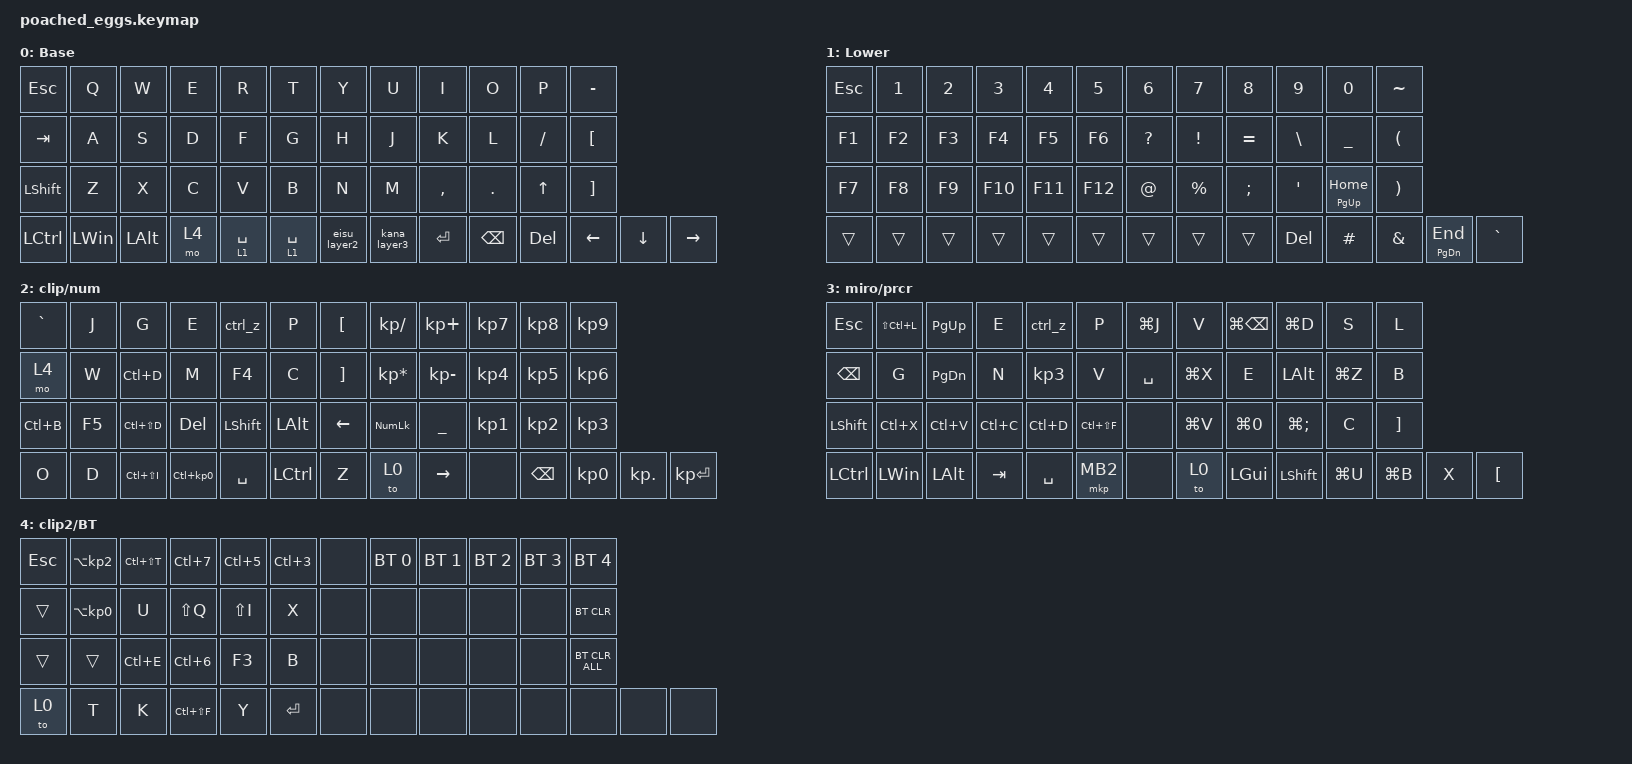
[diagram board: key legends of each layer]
#include <behaviors.dtsi>
#include <dt-bindings/zmk/bt.h>
#include <dt-bindings/zmk/keys.h>
#include <dt-bindings/zmk/pointing.h>
/ {
    behaviors {
        eisu_layer2: eisu_layer2 {
            compatible = "zmk,behavior-tap-dance";
            label = "EISU_LAYER2";
            #binding-cells = <0>;
            bindings = <&lt 2 LANG2>, <&to 2>;
        };
        kana_layer3: kana_layer3 {
            compatible = "zmk,behavior-tap-dance";
            label = "KANA_LAYER3";
            #binding-cells = <0>;
            bindings = <&kp LANG1>, <&to 3>;
        };
    };
    combos {
        compatible = "zmk,combos";

        combo_q {
            bindings = <&kp Q>;
            key-positions = <4 3>;
            layers = <2>;
        };

        ctrl_s {
            bindings = <&kp LC(S)>;
            key-positions = <15 16>;
            layers = <2>;
        };
    };
    macros {
        ctrl_z: ctrl_z {
            compatible = "zmk,behavior-macro";
            #binding-cells = <0>;
            bindings = <&kp LC(Z)>;
            label = "CTRL_Z";
        };
    };
    keymap {
        compatible = "zmk,keymap";
        // Layer 0; positions 0..49, rows 12 + 12 + 12 + 14.
        default_layer {
            display-name = "Base";
            bindings = <
        		&kp ESC                 &kp Q                   &kp W                   &kp E                   &kp R                   &kp T                   &kp Y                   &kp U                   &kp I                   &kp O                   &kp P                   &kp MINUS
        		&kp TAB                 &kp A                   &kp S                   &kp D                   &kp F                   &kp G                   &kp H                   &kp J                   &kp K                   &kp L                   &kp SLASH               &kp LBKT
        		&kp LSHIFT              &kp Z                   &kp X                   &kp C                   &kp V                   &kp B                   &kp N                   &kp M                   &kp COMMA               &kp DOT                 &kp UP_ARROW            &kp RBKT
                &kp LCTRL               &kp LWIN                &kp LALT                &mo 4                   &lt 1 SPACE             &lt 1 SPACE             &eisu_layer2            &kana_layer3            &kp ENTER               &kp BSPC                &kp DELETE              &kp LEFT_ARROW          &kp DOWN_ARROW          &kp RIGHT_ARROW
            >;
        };
        // Layer 1; positions 0..49, rows 12 + 12 + 12 + 14.
        lower_layer {
            display-name = "Lower";
            bindings = <
                &kp ESC                 &kp N1                  &kp N2                  &kp N3                  &kp N4                  &kp N5                  &kp N6                  &kp N7                  &kp N8                  &kp N9                  &kp N0                  &kp TILDE
                &kp F1                  &kp F2                  &kp F3                  &kp F4                  &kp F5                  &kp F6                  &kp QMARK               &kp EXCL                &kp EQUAL               &kp BSLH                &kp UNDER               &kp LPAR
                &kp F7                  &kp F8                  &kp F9                  &kp F10                 &kp F11                 &kp F12                 &kp AT                  &kp PRCNT               &kp SEMI                &kp SQT                 &mt PAGE_UP HOME        &kp RPAR
                &trans                  &trans                  &trans                  &trans                  &trans                  &trans                  &trans                  &trans                  &trans                  &kp DEL                 &kp HASH                &kp AMPS                &mt PAGE_DOWN END       &kp GRAVE
            >;
        };
        // Layer 2; positions 0..49, rows 12 + 12 + 12 + 14.
        clip_layer {
            display-name = "clip/num";
            bindings = <
                &kp GRAVE               &kp J                   &kp G                   &kp E                   &ctrl_z                 &kp P                   &kp LEFT_BRACKET        &kp KP_SLASH            &kp KP_PLUS             &kp KP_NUMBER_7         &kp KP_NUMBER_8         &kp KP_NUMBER_9
                &mo 4                   &kp W                   &kp LC(D)               &kp M                   &kp F4                  &kp C                   &kp RIGHT_BRACKET       &kp KP_ASTERISK         &kp KP_MINUS            &kp KP_NUMBER_4         &kp KP_NUMBER_5         &kp KP_NUMBER_6
                &kp LC(B)               &kp F5                  &kp LC(LS(D))           &kp DEL                 &kp LSHIFT              &kp LALT                &kp LEFT_ARROW          &kp KP_NUM              &kp UNDER               &kp KP_NUMBER_1         &kp KP_NUMBER_2         &kp KP_NUMBER_3
                &kp O                   &kp D                   &kp LC(LS(I))           &kp LC(KP_NUMBER_0)     &kp SPACE               &kp LCTRL               &kp Z                   &to 0                   &kp RIGHT_ARROW         &none                   &kp BSPC                &kp KP_NUMBER_0         &kp KP_DOT              &kp KP_ENTER
            >;
        };
        // Layer 3; positions 0..49, rows 12 + 12 + 12 + 14.
        miro_layer {
            display-name = "miro/prcr";
            bindings = <
                &kp ESC                 &kp LS(LC(L))           &kp PAGE_UP             &kp E                   &ctrl_z                 &kp P                   &kp LG(J)               &kp V                   &kp LG(BACKSPACE)       &kp LG(D)               &kp S                   &kp L
                &kp BACKSPACE           &kp G                   &kp PAGE_DOWN           &kp N                   &kp KP_NUMBER_3         &kp V                   &kp SPACE               &kp LG(X)               &kp E                   &kp LEFT_ALT            &kp LG(Z)               &kp B
                &kp LSHIFT              &kp LC(X)               &kp LC(V)               &kp LC(C)               &kp LC(D)               &kp LC(LS(F))           &none                   &kp LG(V)               &kp LG(N0)              &kp LG(SEMI)            &kp C                   &kp RBKT
                &kp LCTRL               &kp LEFT_WIN            &kp LEFT_ALT            &kp TAB                 &kp SPACE               &mkp MB2                &none                   &to 0                   &kp LEFT_GUI            &kp LSHIFT              &kp LG(U)               &kp LG(B)               &kp X                   &kp LBKT
            >;
        };
        // Layer 4; positions 0..49, rows 12 + 12 + 12 + 14.
        bt_layer {
            display-name = "clip2/BT";
            bindings = <
                &kp ESC                 &kp LA(KP_NUMBER_2)     &kp LC(LS(T))           &kp LC(N7)              &kp LC(N5)              &kp LC(N3)              &none                   &bt BT_SEL 0            &bt BT_SEL 1            &bt BT_SEL 2            &bt BT_SEL 3            &bt BT_SEL 4
                &trans                  &kp LA(KP_NUMBER_0)     &kp U                   &kp LS(Q)               &kp LS(I)               &kp X                   &none                   &none                   &none                   &none                   &none                   &bt BT_CLR
                &trans                  &trans                  &kp LC(E)               &kp LC(N6)              &kp F3                  &kp B                   &none                   &none                   &none                   &none                   &none                   &bt BT_CLR_ALL
                &to 0                   &kp T                   &kp K                   &kp LC(LS(F))           &kp Y                   &kp ENTER               &none                   &none                   &none                   &none                   &none                   &none                   &none                   &none
            >;
        };
    };
};
